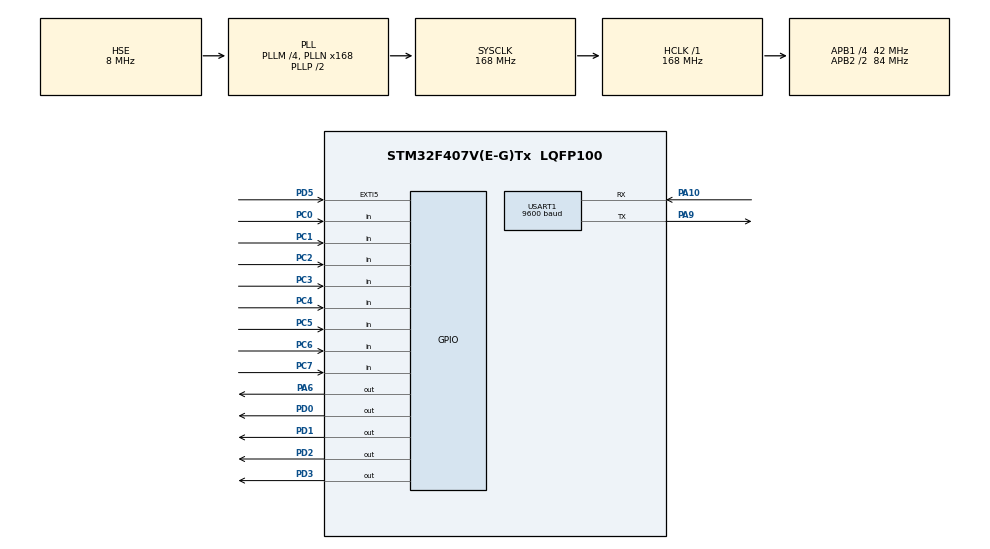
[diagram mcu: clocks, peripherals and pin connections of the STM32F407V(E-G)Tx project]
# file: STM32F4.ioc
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Mcu.Family=STM32F4
Mcu.Name=STM32F407V(E-G)Tx
Mcu.Package=LQFP100
NVIC.EXTI9_5_IRQn=true\:0\:0\:false\:false\:true\:true\:true
NVIC.PriorityGroup=NVIC_PRIORITYGROUP_4
PA10.Mode=Asynchronous
PA10.Signal=USART1_RX
PA6.Signal=GPIO_Output
PA9.Mode=Asynchronous
PA9.Signal=USART1_TX
PC0.Signal=GPIO_Input
PC1.Signal=GPIO_Input
PC14-OSC32_IN.Mode=LSE-External-Oscillator
PC14-OSC32_IN.Signal=RCC_OSC32_IN
PC15-OSC32_OUT.Mode=LSE-External-Oscillator
PC15-OSC32_OUT.Signal=RCC_OSC32_OUT
PC2.Signal=GPIO_Input
PC3.Signal=GPIO_Input
PC4.Signal=GPIO_Input
PC5.Signal=GPIO_Input
PC6.Signal=GPIO_Input
PC7.Signal=GPIO_Input
PD0.Signal=GPIO_Output
PD1.Signal=GPIO_Output
PD2.Signal=GPIO_Output
PD3.Signal=GPIO_Output
PD5.GPIO_ModeDefaultEXTI=GPIO_MODE_IT_RISING_FALLING
PD5.GPIO_PuPd=GPIO_PULLDOWN
PD5.Signal=GPXTI5
PH0-OSC_IN.Mode=HSE-External-Oscillator
PH0-OSC_IN.Signal=RCC_OSC_IN
PH1-OSC_OUT.Mode=HSE-External-Oscillator
PH1-OSC_OUT.Signal=RCC_OSC_OUT
ProjectManager.HeapSize=0x200
ProjectManager.StackSize=0x400
ProjectManager.TargetToolchain=STM32CubeIDE
RCC.48MHZClocksFreq_Value=84000000
RCC.AHBFreq_Value=168000000
RCC.APB1CLKDivider=RCC_HCLK_DIV4
RCC.APB1Freq_Value=42000000
RCC.APB1TimFreq_Value=84000000
RCC.APB2CLKDivider=RCC_HCLK_DIV2
RCC.APB2Freq_Value=84000000
RCC.APB2TimFreq_Value=168000000
RCC.CortexFreq_Value=168000000
RCC.HCLKFreq_Value=168000000
RCC.HSE_VALUE=8000000
RCC.HSI_VALUE=16000000
RCC.PLLM=4
RCC.PLLN=168
RCC.PLLSourceVirtual=RCC_PLLSOURCE_HSE
RCC.SYSCLKFreq_VALUE=168000000
RCC.SYSCLKSource=RCC_SYSCLKSOURCE_PLLCLK
RCC.VCOOutputFreq_Value=336000000
TIM1.Prescaler=168 - 1
USART1.BaudRate=9600
USART1.VirtualMode=VM_ASYNC
VP_TIM1_VS_ClockSourceINT.Mode=Internal
board=custom

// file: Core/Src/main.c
/* USER CODE BEGIN Header */
/**
 ******************************************************************************
 * @file           : main.c
 * @brief          : Main program body
 ******************************************************************************
 * @attention
 *
 * <h2><center>&copy; Copyright (c) 2021 STMicroelectronics.
 * All rights reserved.</center></h2>
 *
 * This software component is licensed by ST under BSD 3-Clause license,
 * the "License"; You may not use this file except in compliance with the
 * License. You may obtain a copy of the License at:
 *                        opensource.org/licenses/BSD-3-Clause
 *
 ******************************************************************************
 */
/* USER CODE END Header */
#include "main.h"

/* USER CODE BEGIN Includes */
#include "utils.h"
#include "stdio.h"
/* USER CODE END Includes */

TIM_HandleTypeDef htim1;

UART_HandleTypeDef huart1;

void SystemClock_Config(void);
static void MX_GPIO_Init(void);
static void MX_TIM1_Init(void);
static void MX_USART1_UART_Init(void);

/* USER CODE BEGIN 0 */

int __io_putchar(int ch) {
	HAL_UART_Transmit(&huart1, (uint8_t*) &ch, 1, 0xffff);
	return ch;
}

/* USER CODE END 0 */

int main(void) {

	/* MCU Configuration--------------------------------------------------------*/

	/* Reset of all peripherals, Initializes the Flash interface and the Systick. */
	HAL_Init();

	/* Configure the system clock */
	SystemClock_Config();

	/* Initialize all configured peripherals */
	MX_GPIO_Init();
	MX_TIM1_Init();
	MX_USART1_UART_Init();
	/* USER CODE BEGIN 2 */
	HAL_TIM_Base_Start(&htim1);

	reset_controller();
	HAL_Delay(40);

	uint8_t version = read_id();
	printf("chip-id: 0x%02x\n", version);
	uint8_t code = check_exists(0x57);
	printf("check_exists 0x%02x\n", code);
	set_usb_mode(0x05);
	printf("wait for connection....\n");
	while (1) {
		while (wait_interrupt() != USB_INT_CONNECT) {
		}
		HAL_Delay(200);
		printf("check rate\n");
		uint8_t freq = get_freq();
		reset_device();

		if (freq & 0x10) {
			printf("low rate\n");
			set_freq(USB_SPEED_LOW);
			delay_us(2);
		} else {
			printf("full rate\n");
		}
		HAL_Delay(100);
		get_description(DESCRIPTOR_DEVICE);

//		uint8_t max_package
//		reset_device();
//		HAL_Delay(100);
//		if (freq & 0x10) {
//			set_freq(USB_SPEED_LOW);
//			delay_us(2);
//		}
		HAL_Delay(100);
		uint8_t status = set_addr(0x05);
		printf("set addr 0x%02x\n", status);

		get_description(DESCRIPTOR_CONFIGURATION);
		HAL_Delay(5000);

	}

	DATA_GPIO->BSRR = 0xFF;
//	uint8_t pData[1];
//	pData[0] = CMD_RESET;
	;
//	pData[0] = 0x06;
//	WriteUSBCommandAndData(CMD_SET_MODE, pData, 1);
//	delay_us(2);
//	pData[0] = 0x57;
//	WriteUSBCommandAndData(CMD_CHECK_EXIST, pData, 1);
//	delay_us(2);
//	ReadUSBCommand(pData, 1);
//	WriteToUSBController(1, pData, 1);
//	delay_us(2);
//	pData[0] = 0x06;
//	WriteToUSBController(0, pData, 1);

//	pData[0] = 0x57;
//	WriteToUSBController(0, pData, 1);

//	ReadFromUSBController();
	/* USER CODE END 2 */

	/* Infinite loop */
	while (1) {

		/* USER CODE BEGIN 3 */

		HAL_Delay(1000);
		HAL_GPIO_WritePin(GPIOA, GPIO_PIN_6, GPIO_PIN_SET);
		HAL_Delay(1000);
		HAL_GPIO_WritePin(GPIOA, GPIO_PIN_6, GPIO_PIN_RESET);
//		HAL_Delay(50);
	}
	/* USER CODE END 3 */
}

void SystemClock_Config(void) {
	RCC_OscInitTypeDef RCC_OscInitStruct = { 0 };
	RCC_ClkInitTypeDef RCC_ClkInitStruct = { 0 };

	/** Configure the main internal regulator output voltage
	 */
	__HAL_RCC_PWR_CLK_ENABLE();
	__HAL_PWR_VOLTAGESCALING_CONFIG(PWR_REGULATOR_VOLTAGE_SCALE1);
	/** Initializes the RCC Oscillators according to the specified parameters
	 * in the RCC_OscInitTypeDef structure.
	 */
	RCC_OscInitStruct.OscillatorType = RCC_OSCILLATORTYPE_HSE;
	RCC_OscInitStruct.HSEState = RCC_HSE_ON;
	RCC_OscInitStruct.PLL.PLLState = RCC_PLL_ON;
	RCC_OscInitStruct.PLL.PLLSource = RCC_PLLSOURCE_HSE;
	RCC_OscInitStruct.PLL.PLLM = 4;
	RCC_OscInitStruct.PLL.PLLN = 168;
	RCC_OscInitStruct.PLL.PLLP = RCC_PLLP_DIV2;
	RCC_OscInitStruct.PLL.PLLQ = 4;
	if (HAL_RCC_OscConfig(&RCC_OscInitStruct) != HAL_OK) {
		Error_Handler();
	}
	/** Initializes the CPU, AHB and APB buses clocks
	 */
	RCC_ClkInitStruct.ClockType = RCC_CLOCKTYPE_HCLK | RCC_CLOCKTYPE_SYSCLK
			| RCC_CLOCKTYPE_PCLK1 | RCC_CLOCKTYPE_PCLK2;
	RCC_ClkInitStruct.SYSCLKSource = RCC_SYSCLKSOURCE_PLLCLK;
	RCC_ClkInitStruct.AHBCLKDivider = RCC_SYSCLK_DIV1;
	RCC_ClkInitStruct.APB1CLKDivider = RCC_HCLK_DIV4;
	RCC_ClkInitStruct.APB2CLKDivider = RCC_HCLK_DIV2;

	if (HAL_RCC_ClockConfig(&RCC_ClkInitStruct, FLASH_LATENCY_5) != HAL_OK) {
		Error_Handler();
	}
}

static void MX_TIM1_Init(void) {

	TIM_ClockConfigTypeDef sClockSourceConfig = { 0 };
	TIM_MasterConfigTypeDef sMasterConfig = { 0 };

	htim1.Instance = TIM1;
	htim1.Init.Prescaler = 168 - 1;
	htim1.Init.CounterMode = TIM_COUNTERMODE_UP;
	htim1.Init.Period = 65535;
	htim1.Init.ClockDivision = TIM_CLOCKDIVISION_DIV1;
	htim1.Init.RepetitionCounter = 0;
	htim1.Init.AutoReloadPreload = TIM_AUTORELOAD_PRELOAD_DISABLE;
	if (HAL_TIM_Base_Init(&htim1) != HAL_OK) {
		Error_Handler();
	}
	sClockSourceConfig.ClockSource = TIM_CLOCKSOURCE_INTERNAL;
	if (HAL_TIM_ConfigClockSource(&htim1, &sClockSourceConfig) != HAL_OK) {
		Error_Handler();
	}
	sMasterConfig.MasterOutputTrigger = TIM_TRGO_RESET;
	sMasterConfig.MasterSlaveMode = TIM_MASTERSLAVEMODE_DISABLE;
	if (HAL_TIMEx_MasterConfigSynchronization(&htim1, &sMasterConfig)
			!= HAL_OK) {
		Error_Handler();
	}

}

static void MX_USART1_UART_Init(void) {

	huart1.Instance = USART1;
	huart1.Init.BaudRate = 9600;
	huart1.Init.WordLength = UART_WORDLENGTH_8B;
	huart1.Init.StopBits = UART_STOPBITS_1;
	huart1.Init.Parity = UART_PARITY_NONE;
	huart1.Init.Mode = UART_MODE_TX_RX;
	huart1.Init.HwFlowCtl = UART_HWCONTROL_NONE;
	huart1.Init.OverSampling = UART_OVERSAMPLING_16;
	if (HAL_UART_Init(&huart1) != HAL_OK) {
		Error_Handler();
	}

}

static void MX_GPIO_Init(void) {
	GPIO_InitTypeDef GPIO_InitStruct = { 0 };

	/* GPIO Ports Clock Enable */
	__HAL_RCC_GPIOC_CLK_ENABLE();
	__HAL_RCC_GPIOH_CLK_ENABLE();
	__HAL_RCC_GPIOA_CLK_ENABLE();
	__HAL_RCC_GPIOD_CLK_ENABLE();

	/*Configure GPIO pin Output Level */
	HAL_GPIO_WritePin(GPIOA, GPIO_PIN_6, GPIO_PIN_RESET);

	/*Configure GPIO pin Output Level */
	HAL_GPIO_WritePin(GPIOD, GPIO_PIN_0 | GPIO_PIN_1 | GPIO_PIN_2 | GPIO_PIN_3,
			GPIO_PIN_RESET);

	/*Configure GPIO pins : PC0 PC1 PC2 PC3
	 PC4 PC5 PC6 PC7 */
	GPIO_InitStruct.Pin = GPIO_PIN_0 | GPIO_PIN_1 | GPIO_PIN_2 | GPIO_PIN_3
			| GPIO_PIN_4 | GPIO_PIN_5 | GPIO_PIN_6 | GPIO_PIN_7;
	GPIO_InitStruct.Mode = GPIO_MODE_INPUT;
	GPIO_InitStruct.Pull = GPIO_NOPULL;
	HAL_GPIO_Init(GPIOC, &GPIO_InitStruct);

	/*Configure GPIO pin : PA6 */
	GPIO_InitStruct.Pin = GPIO_PIN_6;
	GPIO_InitStruct.Mode = GPIO_MODE_OUTPUT_PP;
	GPIO_InitStruct.Pull = GPIO_NOPULL;
	GPIO_InitStruct.Speed = GPIO_SPEED_FREQ_LOW;
	HAL_GPIO_Init(GPIOA, &GPIO_InitStruct);

	/*Configure GPIO pins : PD0 PD1 PD2 PD3 */
	GPIO_InitStruct.Pin = GPIO_PIN_0 | GPIO_PIN_1 | GPIO_PIN_2 | GPIO_PIN_3;
	GPIO_InitStruct.Mode = GPIO_MODE_OUTPUT_PP;
	GPIO_InitStruct.Pull = GPIO_NOPULL;
	GPIO_InitStruct.Speed = GPIO_SPEED_FREQ_LOW;
	HAL_GPIO_Init(GPIOD, &GPIO_InitStruct);

	/*Configure GPIO pin : PD5 */
	GPIO_InitStruct.Pin = GPIO_PIN_5;
	GPIO_InitStruct.Mode = GPIO_MODE_IT_RISING_FALLING;
	GPIO_InitStruct.Pull = GPIO_PULLDOWN;
	HAL_GPIO_Init(GPIOD, &GPIO_InitStruct);

	/* EXTI interrupt init*/
	HAL_NVIC_SetPriority(EXTI9_5_IRQn, 0, 0);
	HAL_NVIC_EnableIRQ(EXTI9_5_IRQn);

}

void Error_Handler(void) {
	__disable_irq();
	while (1) {
	}
}

/************************ (C) COPYRIGHT STMicroelectronics *****END OF FILE****/
